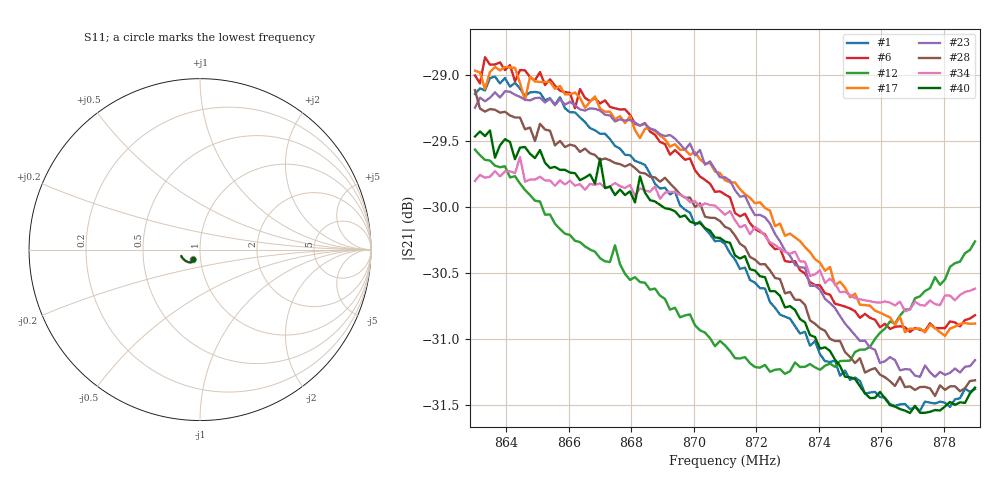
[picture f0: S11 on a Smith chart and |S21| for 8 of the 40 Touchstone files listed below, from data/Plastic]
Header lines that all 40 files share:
# HZ S RI R 50
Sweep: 863 MHz to 879 MHz
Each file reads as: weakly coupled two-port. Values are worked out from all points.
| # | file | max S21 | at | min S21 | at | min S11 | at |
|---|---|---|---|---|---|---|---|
| 1 | po0s4.s2p | -29.01 dB | 863.64 MHz | -31.5 dB | 877.24 MHz | -23.4 dB | 863.96 MHz |
| 2 | po0s7.s2p | -29.06 dB | 863.96 MHz | -31.2 dB | 876.44 MHz | -23.5 dB | 863.96 MHz |
| 3 | po0s8.s2p | -29.17 dB | 863 MHz | -31.5 dB | 876.92 MHz | -23.3 dB | 863.96 MHz |
| 4 | po1s0.s2p | -28.80 dB | 863.16 MHz | -31.3 dB | 876.28 MHz | -23.3 dB | 864.44 MHz |
| 5 | po1s1.s2p | -28.94 dB | 863.8 MHz | -31.2 dB | 879 MHz | -23.4 dB | 865.24 MHz |
| 6 | po1s5.s2p | -28.87 dB | 863.32 MHz | -30.9 dB | 876.92 MHz | -23.4 dB | 863.96 MHz |
| 7 | po2s2.s2p | -28.96 dB | 863.96 MHz | -30.8 dB | 875.48 MHz | -23.2 dB | 863.96 MHz |
| 8 | po2s8.s2p | -28.96 dB | 863.16 MHz | -31.1 dB | 875.8 MHz | -23.3 dB | 864.44 MHz |
| 9 | po2s9.s2p | -29.19 dB | 863 MHz | -30.7 dB | 874.52 MHz | -23.1 dB | 864.44 MHz |
| 10 | po2s10.s2p | -29.26 dB | 863 MHz | -30.7 dB | 875.16 MHz | -23.2 dB | 865.56 MHz |
| 11 | po3s4.s2p | -29.38 dB | 863 MHz | -31.7 dB | 874.52 MHz | -23.1 dB | 863.96 MHz |
| 12 | po3s5.s2p | -29.57 dB | 863 MHz | -31.3 dB | 872.92 MHz | -23.0 dB | 865.24 MHz |
| 13 | po3s10.s2p | -29.25 dB | 863 MHz | -31.3 dB | 875.48 MHz | -23.0 dB | 863.8 MHz |
| 14 | po3s16.s2p | -29.17 dB | 863 MHz | -31.4 dB | 874.68 MHz | -23.3 dB | 865.4 MHz |
| 15 | po5s0.s2p | -29.15 dB | 863.32 MHz | -31.0 dB | 876.92 MHz | -23.7 dB | 864.92 MHz |
| 16 | po5s1.s2p | -29.02 dB | 863.64 MHz | -30.7 dB | 878.04 MHz | -23.8 dB | 864.44 MHz |
| 17 | po5s4.s2p | -28.94 dB | 863.96 MHz | -31.0 dB | 878.04 MHz | -23.9 dB | 863.96 MHz |
| 18 | po5s6.s2p | -28.92 dB | 863 MHz | -31.1 dB | 878.04 MHz | -23.7 dB | 864.44 MHz |
| 19 | po5s8.s2p | -28.81 dB | 864.12 MHz | -30.8 dB | 878.52 MHz | -23.6 dB | 865.56 MHz |
| 20 | po6s0.s2p | -29.13 dB | 863.48 MHz | -30.9 dB | 877.88 MHz | -23.7 dB | 865.4 MHz |
| 21 | po6s1.s2p | -29.02 dB | 863.64 MHz | -31.4 dB | 878.04 MHz | -24.0 dB | 864.44 MHz |
| 22 | po6s2.s2p | -28.98 dB | 863 MHz | -31.1 dB | 877.08 MHz | -23.8 dB | 864.44 MHz |
| 23 | po6s3.s2p | -29.12 dB | 863.96 MHz | -31.3 dB | 877.72 MHz | -23.8 dB | 865.4 MHz |
| 24 | po6s6.s2p | -28.34 dB | 864.6 MHz | -31.1 dB | 878.2 MHz | -24.1 dB | 864.6 MHz |
| 25 | po6s9.s2p | -29.14 dB | 863.64 MHz | -31.5 dB | 878.04 MHz | -23.8 dB | 865.4 MHz |
| 26 | po7s2.s2p | -29.16 dB | 863.32 MHz | -31.2 dB | 878.36 MHz | -23.6 dB | 865.24 MHz |
| 27 | po7s8.s2p | -29.20 dB | 863.96 MHz | -31.3 dB | 876.92 MHz | -23.6 dB | 863.96 MHz |
| 28 | po7s10.s2p | -29.11 dB | 863 MHz | -31.4 dB | 877.72 MHz | -23.7 dB | 865.4 MHz |
| 29 | po8s5.s2p | -28.82 dB | 866.36 MHz | -31.3 dB | 877.88 MHz | -23.8 dB | 864.44 MHz |
| 30 | po8s9.s2p | -29.37 dB | 863.32 MHz | -31.3 dB | 877.24 MHz | -23.8 dB | 864.92 MHz |
| 31 | po9s1.s2p | -29.39 dB | 863.64 MHz | -31.3 dB | 876.92 MHz | -23.8 dB | 863.96 MHz |
| 32 | po9s5.s2p | -29.01 dB | 863.48 MHz | -31.2 dB | 876.92 MHz | -23.8 dB | 864.44 MHz |
| 33 | po9s7.s2p | -29.10 dB | 865.72 MHz | -31.0 dB | 877.08 MHz | -23.9 dB | 865.72 MHz |
| 34 | po10s4.s2p | -29.62 dB | 864.44 MHz | -30.8 dB | 876.76 MHz | -24.2 dB | 864.44 MHz |
| 35 | po10s5.s2p | -29.54 dB | 863.96 MHz | -30.6 dB | 876.92 MHz | -23.8 dB | 864.12 MHz |
| 36 | po10s8.s2p | -29.33 dB | 863.48 MHz | -30.6 dB | 876.28 MHz | -23.9 dB | 864.44 MHz |
| 37 | po10s11.s2p | -28.59 dB | 864.44 MHz | -30.9 dB | 878.04 MHz | -23.7 dB | 864.92 MHz |
| 38 | po10s14.s2p | -29.57 dB | 863 MHz | -31.3 dB | 876.76 MHz | -23.8 dB | 864.44 MHz |
| 39 | po11s1.s2p | -29.86 dB | 863 MHz | -31.6 dB | 877.88 MHz | -23.4 dB | 865.56 MHz |
| 40 | po11s3.s2p | -29.42 dB | 863.48 MHz | -31.6 dB | 876.92 MHz | -23.3 dB | 863.96 MHz |
